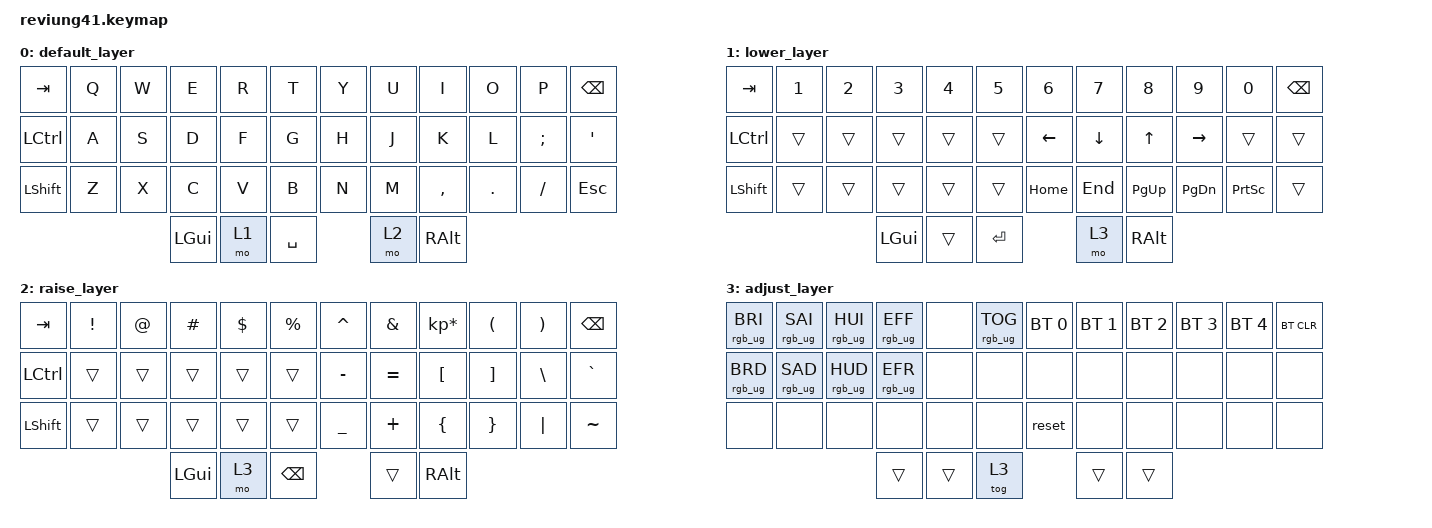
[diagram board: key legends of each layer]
/*
 * Copyright (c) 2020 The ZMK Contributors
 *
 * SPDX-License-Identifier: MIT
 */

#include <behaviors.dtsi>
#include <dt-bindings/zmk/keys.h>
#include <dt-bindings/zmk/bt.h>
#include <dt-bindings/zmk/rgb.h>

/ {
        keymap {
                compatible = "zmk,keymap";

                default_layer {
// -------------------------------------------------------------------------------------
// | TAB  |  Q  |  W  |  E  |  R  |  T  |   |  Y  |  U   |  I  |  O  |  P  | BKSP |
// | CTRL |  A  |  S  |  D  |  F  |  G  |   |  H  |  J   |  K  |  L  |  ;  |  '   |
// | SHFT |  Z  |  X  |  C  |  V  |  B  |   |  N  |  M   |  ,  |  .  |  /  | ESC  |
//                    | GUI | LWR | SPC |   | ENT | RSE  | ALT |
                        bindings = <
   &kp TAB   &kp Q &kp W &kp E &kp R &kp T   &kp Y &kp U  &kp I     &kp O   &kp P    &kp BSPC
   &kp LCTRL &kp A &kp S &kp D &kp F &kp G   &kp H &kp J  &kp K     &kp L   &kp SEMI &kp SQT
   &kp LSHFT &kp Z &kp X &kp C &kp V &kp B   &kp N &kp M  &kp COMMA &kp DOT &kp FSLH &kp ESC
                        &kp LGUI  &mo 1 &kp SPACE &mo 2  &kp RALT
                        >;
                };

                lower_layer {
// ----------------------------------------------------------------------------------
// |  TAB |  1  |  2  |  3  |  4  |  5  |   |  6  |  7  |  8  |  9  |  0  | BKSP |
// | CTRL |     |     |     |     |     |   | LFT | DWN |  UP | RGT |     |      |
// | SHFT |     |     |     |     |     |   | HOME| END | PGUP|PGDN |PRSC |      |
//                       |     |     | RET | ADJ |     |
                        bindings = <
   &kp TAB   &kp N1   &kp N2    &kp N3    &kp N4    &kp N5        &kp N6    &kp N7    &kp N8    &kp N9    &kp N0    &kp BSPC
   &kp LCTRL &trans   &trans    &trans    &trans    &trans        &kp LEFT  &kp DOWN  &kp UP    &kp RIGHT &trans    &trans
   &kp LSHFT &trans   &trans    &trans    &trans    &trans        &kp HOME  &kp END   &kp PG_UP &kp PG_DN &kp PSCRN &trans
                                 &kp LGUI      &trans       &kp RET        &mo 3       &kp RALT
                        >;
                };

                raise_layer {
// -----------------------------------------------------------------------------------------
// |  TAB |  !  |  @  |  #  |  $  |  %  |   |  ^  |  &  |  *  |  (  |  )  | BKSP |
// | CTRL |     |     |     |     |     |   |  -  |  =  |  [  |  ]  |  \  |  `   |
// | SHFT |     |     |     |     |     |   |  _  |  +  |  {  |  }  | "|" |  ~   |
//                       |     | ADJ | BKSP |    |     |
                        bindings = <
   &kp  TAB  &kp EXCL &kp AT &kp HASH &kp DLLR &kp PRCNT   &kp CARET &kp AMPS  &kp KP_MULTIPLY &kp LPAR &kp RPAR &kp BSPC
   &kp LCTRL &trans   &trans &trans   &trans   &trans      &kp MINUS &kp EQUAL &kp LBKT        &kp RBKT &kp BSLH &kp GRAVE
   &kp LSHFT &trans   &trans &trans   &trans   &trans      &kp UNDER &kp PLUS  &kp LBRC        &kp RBRC &kp PIPE &kp TILDE
                                &kp LGUI      &mo 3       &kp BSPC        &trans      &kp RALT
                        >;
                };

                adjust_layer {
// -----------------------------------------------------------------------------------------
// | RGB BRI+ | RGB SAT+ | RGB HUE+ | RGB ANI+ |    | RGB TOG |   |  BT1  | BT2 | BT3 | BT4 | BT5 | BT CLR |
// | RGB BRI- | RGB SAT- | RGB HUE- | RGB ANI- |    |         |   |       |     |     |     |     |        |
// |          |          |          |          |    |         |   | RESET |     |     |     |     |        |
//                                              |     |     |     |     |     |
                        bindings = <
   &rgb_ug RGB_BRI &rgb_ug RGB_SAI &rgb_ug RGB_HUI &rgb_ug RGB_EFF &none &rgb_ug RGB_TOG    &bt BT_SEL 0 &bt BT_SEL 1 &bt BT_SEL 2 &bt BT_SEL 3 &bt BT_SEL 4 &bt BT_CLR
   &rgb_ug RGB_BRD &rgb_ug RGB_SAD &rgb_ug RGB_HUD &rgb_ug RGB_EFR &none &none              &none        &none        &none        &none        &none        &none
   &none           &none           &none           &none           &none &none              &reset       &none        &none        &none        &none        &none
                                                             &trans      &trans       &tog 3        &trans      &trans
                        >;
                };
        };
};
